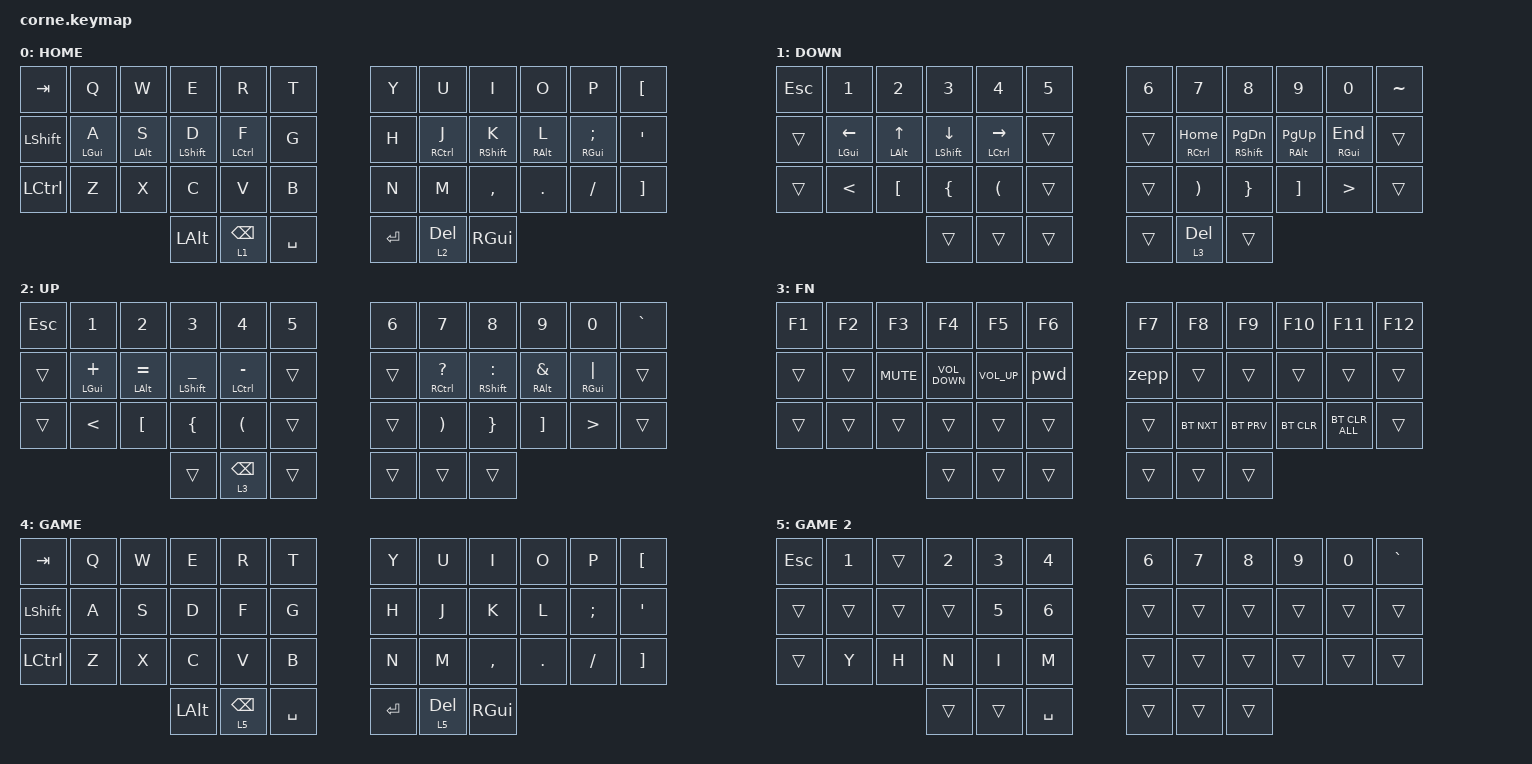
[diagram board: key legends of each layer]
/*
 * Copyright (c) 2020 The ZMK Contributors
 *
 * SPDX-License-Identifier: MIT
 */

#include <behaviors.dtsi>
#include <dt-bindings/zmk/bt.h>
#include <dt-bindings/zmk/keys.h>

/ {
    combos {
        compatible = "zmk,combos";

        enter {
            bindings = <&kp ENTER>;
            key-positions = <36 38>;
        };

        gaming_mode {
            bindings = <&tog 4>;
            key-positions = <24 13 2 15 37>;
        };
    };

    macros {
        pwd: pwd {
            compatible = "zmk,behavior-macro";
            #binding-cells = <0>;
            bindings = <&kp LS(G) &kp E &kp R &kp N4 &kp L &kp T &kp N0 &kp F &kp LS(R) &kp N1 &kp V &kp N1 &kp N4>;
            label = "PWD";
        };

        zepp: zepp {
            compatible = "zmk,behavior-macro";
            #binding-cells = <0>;
            bindings = <&kp LS(W) &kp N3 &kp LS(G) &kp N0 &kp N1 &kp N &kp G &kp LS(D) &kp N0 &kp W &kp N &kp LS(N) &kp N0 &kp W &kp EXCL>;
            label = "ZEPP";
        };
    };

    behaviors {
        ht: ht {
            compatible = "zmk,behavior-hold-tap";
            label = "Hold/tap";
            bindings = <&kp>, <&kp>;

            #binding-cells = <2>;
            tapping-term-ms = <200>;
            flavor = "balanced";
            quick-tap-ms = <0>;
        };
    };

    keymap {
        compatible = "zmk,keymap";

        default_layer {
            // -----------------------------------------------------------------------------------------
            // |  TAB |  Q  |  W  |  E  |  R  |  T  |   |  Y  |  U   |  I  |  O  |  P  | BKSP |
            // | CTRL |  A  |  S  |  D  |  F  |  G  |   |  H  |  J   |  K  |  L  |  ;  |  '   |
            // | SHFT |  Z  |  X  |  C  |  V  |  B  |   |  N  |  M   |  ,  |  .  |  /  | ESC  |
            //                    | GUI | LWR | SPC |   | ENT | RSE  | ALT |

            bindings = <
&kp TAB           &kp Q           &kp W           &kp E             &kp R               &kp T        &kp Y    &kp U                &kp I              &kp O            &kp P               &kp LEFT_BRACKET
&kp LEFT_SHIFT    &ht LEFT_GUI A  &ht LEFT_ALT S  &ht LEFT_SHIFT D  &ht LEFT_CONTROL F  &kp G        &kp H    &ht RIGHT_CONTROL J  &ht RIGHT_SHIFT K  &ht RIGHT_ALT L  &ht RIGHT_GUI SEMI  &kp SINGLE_QUOTE
&kp LEFT_CONTROL  &kp Z           &kp X           &kp C             &kp V               &kp B        &kp N    &kp M                &kp COMMA          &kp DOT          &kp FSLH            &kp RIGHT_BRACKET
                                                  &kp LEFT_ALT      &lt 1 BACKSPACE     &kp SPACE    &kp RET  &lt 2 DELETE         &kp RIGHT_GUI
            >;

            label = "HOME ";
        };

        lower_layer {
            // -----------------------------------------------------------------------------------------
            // |  TAB |  1  |  2  |  3  |  4  |  5  |   |  6  |  7  |  8  |  9  |  0  | BKSP |
            // | BTCLR| BT1 | BT2 | BT3 | BT4 | BT5 |   | LFT | DWN |  UP | RGT |     |      |
            // | SHFT |     |     |     |     |     |   |     |     |     |     |     |      |
            //                    | GUI |     | SPC |   | ENT |     | ALT |

            bindings = <
&kp ESC  &kp N1                   &kp N2                 &kp N3                     &kp N4                        &kp N5    &kp N6  &kp N7                 &kp N8                     &kp N9                 &kp N0             &kp TILDE
&trans   &ht LEFT_GUI LEFT_ARROW  &ht LEFT_ALT UP_ARROW  &ht LEFT_SHIFT DOWN_ARROW  &ht LEFT_CONTROL RIGHT_ARROW  &trans    &trans  &ht RCTRL HOME         &ht RIGHT_SHIFT PAGE_DOWN  &ht RIGHT_ALT PAGE_UP  &ht RIGHT_GUI END  &trans
&trans   &kp LESS_THAN            &kp LEFT_BRACKET       &kp LEFT_BRACE             &kp LEFT_PARENTHESIS          &trans    &trans  &kp RIGHT_PARENTHESIS  &kp RIGHT_BRACE            &kp RIGHT_BRACKET      &kp GREATER_THAN   &trans
                                                         &trans                     &trans                        &trans    &trans  &lt 3 DELETE           &trans
            >;

            label = "DOWN ";
        };

        raise_layer {
            // -----------------------------------------------------------------------------------------
            // |  TAB |  !  |  @  |  #  |  $  |  %  |   |  ^  |  &  |  *  |  (  |  )  | BKSP |
            // | CTRL |     |     |     |     |     |   |  -  |  =  |  [  |  ]  |  \  |  `   |
            // | SHFT |     |     |     |     |     |   |  _  |  +  |  {  |  }  | "|" |  ~   |
            //                    | GUI |     | SPC |   | ENT |     | ALT |

            bindings = <
&kp ESC  &kp N1             &kp N2              &kp N3                     &kp N4                  &kp N5    &kp N6  &kp N7                      &kp N8                 &kp N9                   &kp N0              &kp GRAVE
&trans   &ht LEFT_GUI PLUS  &ht LEFT_ALT EQUAL  &ht LEFT_SHIFT UNDERSCORE  &ht LEFT_CONTROL MINUS  &trans    &trans  &ht RIGHT_CONTROL QUESTION  &ht RIGHT_SHIFT COLON  &ht RIGHT_ALT AMPERSAND  &ht RIGHT_GUI PIPE  &trans
&trans   &kp LESS_THAN      &kp LBKT            &kp LEFT_BRACE             &kp LEFT_PARENTHESIS    &trans    &trans  &kp RIGHT_PARENTHESIS       &kp RIGHT_BRACE        &kp RBKT                 &kp GREATER_THAN    &trans
                                                &trans                     &lt 3 BACKSPACE         &trans    &trans  &trans                      &trans
            >;

            label = "UP ";
        };

        functional {
            bindings = <
&kp F1  &kp F2  &kp F3      &kp F4             &kp F5           &kp F6    &kp F7  &kp F8      &kp F9      &kp F10     &kp F11         &kp F12
&trans  &trans  &kp K_MUTE  &kp C_VOLUME_DOWN  &kp C_VOLUME_UP  &pwd      &zepp   &trans      &trans      &trans      &trans          &trans
&trans  &trans  &trans      &trans             &trans           &trans    &trans  &bt BT_NXT  &bt BT_PRV  &bt BT_CLR  &bt BT_CLR_ALL  &trans
                            &trans             &trans           &trans    &trans  &trans      &trans
            >;

            label = "FN";
        };

        gaming {
            bindings = <
&kp TAB           &kp Q  &kp W  &kp E         &kp R            &kp T        &kp Y    &kp U         &kp I          &kp O    &kp P     &kp LEFT_BRACKET
&kp LEFT_SHIFT    &kp A  &kp S  &kp D         &kp F            &kp G        &kp H    &kp J         &kp K          &kp L    &kp SEMI  &kp SINGLE_QUOTE
&kp LEFT_CONTROL  &kp Z  &kp X  &kp C         &kp V            &kp B        &kp N    &kp M         &kp COMMA      &kp DOT  &kp FSLH  &kp RIGHT_BRACKET
                                &kp LEFT_ALT  &lt 5 BACKSPACE  &kp SPACE    &kp RET  &lt 5 DELETE  &kp RIGHT_GUI
            >;

            label = "GAME";
        };

        raise_gaming {
            bindings = <
&kp ESCAPE  &kp N1  &trans  &kp N2  &kp N3  &kp N4       &kp N6  &kp N7  &kp N8  &kp N9  &kp N0  &kp GRAVE
&trans      &trans  &trans  &trans  &kp N5  &kp N6       &trans  &trans  &trans  &trans  &trans  &trans
&trans      &kp Y   &kp H   &kp N   &kp I   &kp M        &trans  &trans  &trans  &trans  &trans  &trans
                            &trans  &trans  &kp SPACE    &trans  &trans  &trans
            >;

            label = "GAME 2";
        };
    };
};
